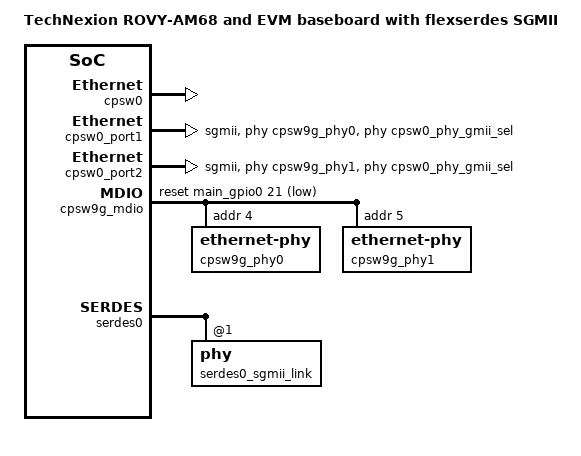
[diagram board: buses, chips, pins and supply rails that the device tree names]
// SPDX-License-Identifier: GPL-2.0
/*
 * DT Overlay for CPSW9G in SGMII mode using ROVY-M2-M-SGMII with ROVY-EVM board
 *
 * Copyright (C) 2022 Texas Instruments Incorporated - https://www.ti.com/
 * Copyright 2022 Technexion Ltd.
 *
 * Author: Richard Hu <richard.hu@technexion.com>
 *
 */

/dts-v1/;
/plugin/;

#include <dt-bindings/gpio/gpio.h>
#include <dt-bindings/phy/phy.h>
#include <dt-bindings/phy/phy-cadence.h>
#include <dt-bindings/pinctrl/k3.h>

/ {
	fragment@102 {
		target-path = "/";
		__overlay__ {
			model = "TechNexion ROVY-AM68 and EVM baseboard with flexserdes SGMII";
			aliases {
				ethernet1 = "/bus@100000/ethernet@c000000/ethernet-ports/port@1";
				ethernet2 = "/bus@100000/ethernet@c000000/ethernet-ports/port@2";
			};
		};
	};
};


&cpsw0 {
	status = "okay";
	pinctrl-names = "default";
	pinctrl-0 = <&mdio_pins_default>;
};

&cpsw0_port1 {
	phy-mode = "sgmii";	
	mac-address = [00 00 00 00 00 00];
	phys = <&cpsw0_phy_gmii_sel 1>, <&serdes0_sgmii_link>;
	phy-names = "portmode", "serdes-phy";
	phy-handle = <&cpsw9g_phy0>;
};

&cpsw0_port2 {
	phy-mode = "sgmii";	
	mac-address = [00 00 00 00 00 00];
	phys = <&cpsw0_phy_gmii_sel 2>, <&serdes0_sgmii_link>;
	phy-names = "portmode", "serdes-phy";
	phy-handle = <&cpsw9g_phy1>;
};

&cpsw0_port3 {
	status = "disabled";
};

&cpsw0_port4 {
	status = "disabled";
};

&cpsw0_port5 {
	status = "disabled";
};

&cpsw0_port6 {
	status = "disabled";
};

&cpsw0_port7 {
	status = "disabled";
};

&cpsw0_port8 {
	status = "disabled";
};

&cpsw9g_mdio {
	bus_freq = <1000000>;
	pinctrl-names = "default";
	pinctrl-0 = <&main_sgmii_phy_reset_pins_default>;
	reset-gpios = <&main_gpio0 21 GPIO_ACTIVE_LOW>;
	//reset-assert-us = <35000>;
	//reset-deassert-us = <75000>;
	#address-cells = <1>;
	#size-cells = <0>;
	//rtl821x,aldps-disable;
	//rtl821x,clkout-disable;

	cpsw9g_phy0: ethernet-phy@4 {
		reg = <4>;
	};

	cpsw9g_phy1: ethernet-phy@5 {
		reg = <5>;
		//ti,rx-internal-delay = <DP83867_RGMIIDCTL_2_00_NS>;
		//ti,fifo-depth = <DP83867_PHYCR_FIFO_DEPTH_4_B_NIB>;
		//ti,min-output-impedance;
	};
};


&cpsw9g_virt_mac {
	status = "disabled";
};


&main_pmx0 {
	mdio_pins_default: mdio-pins-default {
		pinctrl-single,pins = <
			J721E_IOPAD(0x1bc, PIN_OUTPUT, 0) /* (V24) MDIO0_MDC */
			J721E_IOPAD(0x1b8, PIN_INPUT, 0) /* (V26) MDIO0_MDIO */
		>;
	};

	main_sgmii_phy_reset_pins_default: main-sgmii-phy-reset-pins-default {
		pinctrl-single,pins = <
			J721E_IOPAD(0x58, PIN_INPUT, 7) /* (AE22) PRG1_PRU1_GPO0.GPIO0_21 */
		>;
	};
};

&main_r5fss0_core0 {
	firmware-name = "pdk-ipc/ipc_echo_test_mcu2_0_release_strip.xer5f";
};

&pcie0_rc {
	status = "disabled";
};

&serdes0 {
	serdes0_sgmii_link: phy@1 {
		reg = <1>;
		cdns,num-lanes = <2>;
		#phy-cells = <0>;
		cdns,phy-type = <PHY_TYPE_SGMII>;
		resets = <&serdes_wiz0 1>, <&serdes_wiz0 2>;
	};
/*
	serdes0_sgmii_link: phy@1 {
		reg = <1>;
		cdns,num-lanes = <1>;
		#phy-cells = <0>;
		cdns,phy-type = <PHY_TYPE_SGMII>;
		resets = <&serdes_wiz0 2>;
	};
*/
};
